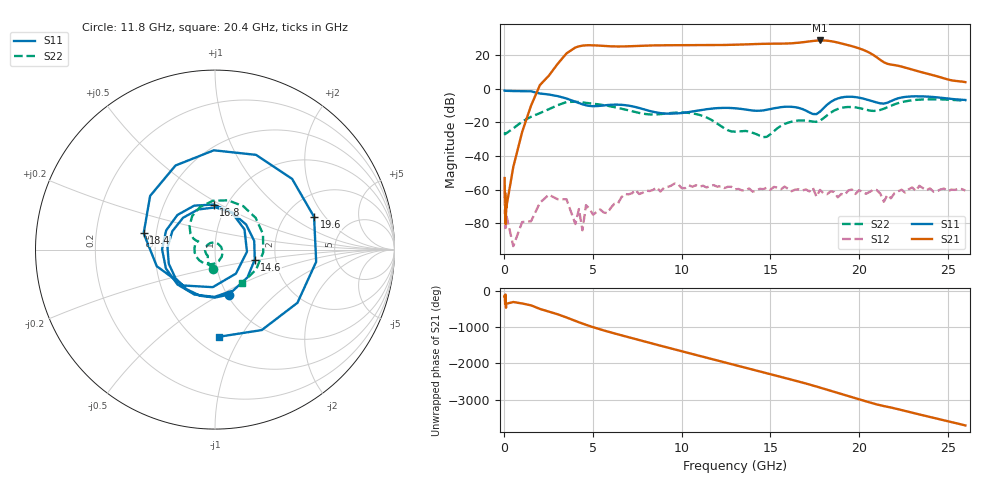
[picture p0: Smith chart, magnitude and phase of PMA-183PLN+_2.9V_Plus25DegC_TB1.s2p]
!Keysight Technologies,N5244A,MY52442000,A.10.40.14
!Date: Tuesday, July 07, 2020 10:57:13
!Correction: S11(Full 2 Port(1,2))
!S21(Full 2 Port(1,2))
!S12(Full 2 Port(1,2))
!S22(Full 2 Port(1,2))
!S2P File: Measurements: S11, S21, S12, S22:
# Hz S  dB  R 50
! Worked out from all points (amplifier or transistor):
!   128 points, 10 MHz to 26 GHz, reference 50 ohm
!   highest |S21| = 28.8 dB at 17.8 GHz (marker M1)
!   |S21| within 3 dB of that: 8.192 GHz to 19.46 GHz (11.26 GHz wide, 81.5 % of centre)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
!   unconditionally stable (mu >= 1): start of sweep to end of sweep
!   at 4.8 GHz: K = 72.68, MAG = 27.0 dB, |S12| = -71.4 dB
!   at 13.4 GHz: K = 23.43, MAG = 26.7 dB, |S12| = -60.4 dB
!   at 26 GHz: K = 210.15, MAG = 6.0 dB, |S12| = -60.5 dB
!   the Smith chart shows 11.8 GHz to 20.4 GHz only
!   S11 on the Smith chart (normalised r, x): 11.8 GHz: 1.02, -0.55; 14.6 GHz: 1.56, -0.18; 16.8 GHz: 0.87, +0.47; 18.4 GHz: 0.43, +0.09; 19.6 GHz: 2.83, +1.56; 20.4 GHz: 0.64, -0.81
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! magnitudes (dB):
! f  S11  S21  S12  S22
! 10 MHz  -1.0  -53.1  -56.8  -26.5
! 40 MHz  -1.1  -61.8  -64.9  -26.6
! 50 MHz  -1.1  -63.9  -82.7  -26.6
! 60 MHz  -1.1  -78.2  -63.3  -26.6
! 70 MHz  -1.2  -80.4  -71.0  -26.6
! 500 MHz  -1.3  -46.4  -93.6  -23.5
! 1.5 GHz  -1.5  -10.0  -78.8  -16.6
! 2.5 GHz  -3.4  7.8  -63.0  -12.1
! 4.4 GHz  -9.2  25.7  -84.2  -8.1
! 4.6 GHz  -9.8  25.9  -69.2  -8.3
! 8.8 GHz  -14.4  25.9  -61.1  -15.0
! 11.8 GHz  -11.6  26.0  -57.2  -19.3
! 13.2 GHz  -11.7  26.3  -59.5  -25.3
! 14.6 GHz  -12.8  26.8  -59.7  -28.7
! 16.8 GHz  -12.0  27.7  -60.5  -18.8
! 17.4 GHz  -15.0  28.5  -58.9  -19.5
! 17.8 GHz  -13.6  28.8  -60.1  -19.0
! 18.4 GHz  -7.8  28.4  -61.0  -14.2
! 19.6 GHz  -4.7  25.4  -59.9  -10.8
! 20.4 GHz  -6.3  22.5  -62.4  -12.4
! 21.8 GHz  -7.3  14.4  -65.1  -10.1
! 26 GHz  -6.6  4.0  -60.5  -7.1
